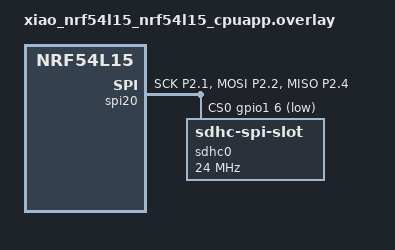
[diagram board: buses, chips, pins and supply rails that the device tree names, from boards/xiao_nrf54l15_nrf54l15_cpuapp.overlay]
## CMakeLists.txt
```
# SPDX-License-Identifier: Apache-2.0
# Copyright (c) 2025 Seeed Technology Co.,Ltd

cmake_minimum_required(VERSION 3.20.0)

# Boot-time reset reason readout, see lib/reset_reason
list(APPEND ZEPHYR_EXTRA_MODULES ${CMAKE_CURRENT_LIST_DIR}/../../lib/reset_reason)
find_package(Zephyr REQUIRED HINTS $ENV{ZEPHYR_BASE})
project(sd_card_hw)

target_sources(app PRIVATE
  src/main.c
)
```

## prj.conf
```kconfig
# SPDX-License-Identifier: Apache-2.0
# SD Card Sample Configuration - Based on working nRF54L15 configuration

# GPIO support
CONFIG_GPIO=y
CONFIG_STDOUT_CONSOLE=y
CONFIG_SPI=y


CONFIG_LOG=y

# SPI interface for SD card - using SPIM00 (SPIM120 high-speed)


# Logging configuration
CONFIG_LOG=y
CONFIG_SHELL_LOG_LEVEL_INF=y

# Debug optimizations
CONFIG_DEBUG_OPTIMIZATIONS=y

# Increased stack and heap sizes for SD card operations
CONFIG_SYSTEM_WORKQUEUE_STACK_SIZE=16384
CONFIG_HEAP_MEM_POOL_SIZE=16384
CONFIG_MAIN_STACK_SIZE=32000
CONFIG_IDLE_STACK_SIZE=8192

# Shell for filesystem operations
CONFIG_SHELL=y
CONFIG_SHELL_STACK_SIZE=16000
CONFIG_FILE_SYSTEM_SHELL=y

# SD Card disk access
CONFIG_DISK_DRIVER_SDMMC=y
CONFIG_DISK_ACCESS=y

# SDHC driver
CONFIG_SDHC=y

# FAT filesystem
CONFIG_FILE_SYSTEM=y
CONFIG_FAT_FILESYSTEM_ELM=y
CONFIG_FS_FATFS_LFN=y

#CONFIG_PM=y
#CONFIG_PM_DEVICE=y 
CONFIG_SOC_NRF_FORCE_CONSTLAT=y
#CONFIG_NRFX_POWER=y

# ZMS (Zephyr Memory Storage) - DISABLED for now, focus on SD card
# CONFIG_FLASH=y
# CONFIG_FLASH_MAP=y
# CONFIG_ZMS=y
# CONFIG_MPU_ALLOW_FLASH_WRITE=y
# CONFIG_SETTINGS=y
# CONFIG_SETTINGS_ZMS=y

# Optional: Shell for filesystem operations
# CONFIG_SHELL=y
# CONFIG_SHELL_LOG_LEVEL_INF=y
# CONFIG_FILE_SYSTEM_SHELL=y
```

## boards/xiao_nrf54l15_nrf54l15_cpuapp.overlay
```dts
/* SD Card configuration for XIAO Expansion Base
 * Using SPI bit-bang instead of hardware SPI
 * Pins: D8=SCK, D9=MISO, D10=MOSI, D2=CS
 */

/ {
	

	aliases {
		sdhc0 = &sdhc0;
		
	};

	chosen {
		zephyr,console = &uart21;
		nordic,rpc-uart = &uart21;
		zephyr,shell-uart = &uart21;
	};

	

};

&pinctrl {
	spi20_default: spi20_default {
		group1 {
			psels = <NRF_PSEL(SPIM_SCK, 2, 1)>,
					<NRF_PSEL(SPIM_MOSI, 2, 2)>,
					<NRF_PSEL(SPIM_MISO, 2, 4)>;
		};
	};

	spi20_sleep: spi20_sleep {
		group1 {
			psels = <NRF_PSEL(SPIM_SCK, 2, 1)>,
					<NRF_PSEL(SPIM_MOSI, 2, 2)>,
					<NRF_PSEL(SPIM_MISO, 2, 4)>;
			low-power-enable;
		};
	};


};

&spi20 {
	compatible = "nordic,nrf-spim";
	pinctrl-names = "default", "sleep";
	pinctrl-0 = <&spi20_default>;
	pinctrl-1 = <&spi20_sleep>;
	status = "okay";

	cs-gpios = <&gpio1 6 (GPIO_ACTIVE_LOW | GPIO_PULL_UP)>;
	sdhc0: sdhc@0 {
		
			compatible = "zephyr,sdhc-spi-slot";
			reg = <0>;
			status = "okay";
			mmc {
				compatible = "zephyr,sdmmc-disk";
				disk-name = "SD";
				status = "okay";
			};
			spi-max-frequency = <24000000>;
		};
};

&uart20 {
	status = "disabled";
};
```

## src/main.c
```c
/*
 * Copyright (c) 2019 Tavish Naruka <tavishnaruka@gmail.com>
 * Copyright (c) 2023 Nordic Semiconductor ASA
 * Copyright (c) 2023 Antmicro <www.antmicro.com>
 * Copyright (c) 2025 Seeed Technology Co.,Ltd
 *
 * SPDX-License-Identifier: Apache-2.0
 */

/** @file
 * @brief SD Card and ZMS Storage Sample for XIAO nRF54L15
 * 
 * This sample demonstrates:
 * - Using the filesystem API with SDHC driver for SD card access
 * - Using ZMS (Zephyr Memory Storage) for persistent settings on nRF54L15
 * - Reading/writing files on SD card
 * - Storing configuration data in ZMS
 */

#include <zephyr/kernel.h>
#include <zephyr/device.h>
#include <zephyr/storage/disk_access.h>
#include <zephyr/logging/log.h>
#include <zephyr/fs/fs.h>
#include <zephyr/fs/zms.h>
#include <zephyr/settings/settings.h>
#include <zephyr/drivers/flash.h>
#include <zephyr/storage/flash_map.h>

#if defined(CONFIG_FAT_FILESYSTEM_ELM)

#include <ff.h>

/*
 *  Note the fatfs library is able to mount only strings inside _VOLUME_STRS
 *  in ffconf.h
 */
#if defined(CONFIG_DISK_DRIVER_MMC)
#define DISK_DRIVE_NAME "SD2"
#else
#define DISK_DRIVE_NAME "SD"
#endif

#define DISK_MOUNT_PT "/"DISK_DRIVE_NAME":"

static FATFS fat_fs;
/* mounting info */
static struct fs_mount_t mp = {
	.type = FS_FATFS,
	.fs_data = &fat_fs,
};

#elif defined(CONFIG_FILE_SYSTEM_EXT2)

#include <zephyr/fs/ext2.h>

#define DISK_DRIVE_NAME "SD"
#define DISK_MOUNT_PT "/ext"

static struct fs_mount_t mp = {
	.type = FS_EXT2,
	.flags = FS_MOUNT_FLAG_NO_FORMAT,
	.storage_dev = (void *)DISK_DRIVE_NAME,
	.mnt_point = "/ext",
};

#endif

#if defined(CONFIG_FAT_FILESYSTEM_ELM)
#define FS_RET_OK FR_OK
#else
#define FS_RET_OK 0
#endif

LOG_MODULE_REGISTER(main, LOG_LEVEL_INF);

#define MAX_PATH 128
#define SOME_FILE_NAME "some.dat"
#define SOME_DIR_NAME "some"
#define SOME_REQUIRED_LEN MAX(sizeof(SOME_FILE_NAME), sizeof(SOME_DIR_NAME))

/* ZMS Configuration */
#ifdef CONFIG_ZMS
#define ZMS_PARTITION_ID FIXED_PARTITION_ID(storage_partition)
/* Storage partition is 8KB (0x2000 bytes) at 0x15c000 */
/* Use 2 sectors of 4KB = 8KB */
#define ZMS_SECTOR_SIZE 4096
#define ZMS_SECTOR_COUNT 2

static struct zms_fs zms = {
	.sector_size = ZMS_SECTOR_SIZE,
	.sector_count = ZMS_SECTOR_COUNT,
};

/* ZMS Data IDs */
#define ZMS_ID_BOOT_COUNT 1
#define ZMS_ID_SD_ACCESS_COUNT 2
#define ZMS_ID_CONFIG_VERSION 3

static int zms_init(void)
{
	int rc;
	struct flash_pages_info info;
	
	zms.flash_device = DEVICE_DT_GET(DT_CHOSEN(zephyr_flash_controller));
	if (!device_is_ready(zms.flash_device)) {
		LOG_ERR("Flash device not ready");
		return -ENODEV;
	}

	zms.offset = FIXED_PARTITION_OFFSET(storage_partition);
	rc = flash_get_page_info_by_offs(zms.flash_device, zms.offset, &info);
	if (rc) {
		LOG_ERR("Unable to get page info (err %d)", rc);
		return rc;
	}

	/* Verify our configured sector size fits in the partition */
	uint32_t partition_size = FIXED_PARTITION_SIZE(storage_partition);
	uint32_t required_size = zms.sector_size * zms.sector_count;
	
	if (required_size > partition_size) {
		LOG_ERR("ZMS config too large: %u bytes required, %u available", 
			required_size, partition_size);
		return -EINVAL;
	}
	
	LOG_INF("ZMS using %u sectors of %u bytes = %u bytes total (partition: %u bytes)",
		zms.sector_count, zms.sector_size, required_size, partition_size);

	rc = zms_mount(&zms);
	if (rc) {
		LOG_ERR("ZMS mount failed (err %d)", rc);
		return rc;
	}

	LOG_INF("ZMS mounted successfully at offset 0x%lx", (unsigned long)zms.offset);
	return 0;
}

static void zms_demo(void)
{
	int rc;
	uint32_t boot_count = 0;
	uint32_t sd_access_count = 0;
	uint16_t config_version = 100;

	/* Read boot count */
	rc = zms_read(&zms, ZMS_ID_BOOT_COUNT, &boot_count, sizeof(boot_count));
	if (rc > 0) {
		LOG_INF("Boot count: %u", boot_count);
		boot_count++;
	} else {
		LOG_INF("Boot count not found, initializing to 1");
		boot_count = 1;
	}

	/* Write updated boot count */
	rc = zms_write(&zms, ZMS_ID_BOOT_COUNT, &boot_count, sizeof(boot_count));
	if (rc < 0) {
		LOG_ERR("Failed to write boot count (err %d)", rc);
	} else {
		LOG_INF("Updated boot count to: %u", boot_count);
	}

	/* Read SD access count */
	rc = zms_read(&zms, ZMS_ID_SD_ACCESS_COUNT, &sd_access_count, sizeof(sd_access_count));
	if (rc > 0) {
		LOG_INF("SD access count: %u", sd_access_count);
	}

	/* Write config version */
	rc = zms_write(&zms, ZMS_ID_CONFIG_VERSION, &config_version, sizeof(config_version));
	if (rc < 0) {
		LOG_ERR("Failed to write config version (err %d)", rc);
	} else {
		LOG_INF("Stored config version: %u", config_version);
	}
}

static void zms_update_sd_count(void)
{
	int rc;
	uint32_t sd_access_count = 0;

	rc = zms_read(&zms, ZMS_ID_SD_ACCESS_COUNT, &sd_access_count, sizeof(sd_access_count));
	if (rc > 0) {
		sd_access_count++;
	} else {
		sd_access_count = 1;
	}

	rc = zms_write(&zms, ZMS_ID_SD_ACCESS_COUNT, &sd_access_count, sizeof(sd_access_count));
	if (rc >= 0) {
		LOG_INF("SD card accessed %u times", sd_access_count);
	}
}
#endif /* CONFIG_ZMS */

static int lsdir(const char *path);

static bool create_some_entries(const char *base_path)
{
	char path[MAX_PATH];
	struct fs_file_t file;
	int base = strlen(base_path);

	fs_file_t_init(&file);

	if (base >= (sizeof(path) - SOME_REQUIRED_LEN)) {
		LOG_ERR("Not enough concatenation buffer to create file paths");
		return false;
	}

	LOG_INF("Creating some dir entries in %s", base_path);
	strncpy(path, base_path, sizeof(path));

	path[base++] = '/';
	path[base] = 0;
	strcat(&path[base], SOME_FILE_NAME);

	if (fs_open(&file, path, FS_O_CREATE) != 0) {
		LOG_ERR("Failed to create file %s", path);
		return false;
	}
	fs_close(&file);

	path[base] = 0;
	strcat(&path[base], SOME_DIR_NAME);

	if (fs_mkdir(path) != 0) {
		LOG_ERR("Failed to create dir %s", path);
		/* If code gets here, it has at least successes to create the
		 * file so allow function to return true.
		 */
	}
	return true;
}

static const char *disk_mount_pt = DISK_MOUNT_PT;

int main(void)
{
	LOG_INF("========================================");
	LOG_INF("XIAO nRF54L15 SD Card + ZMS Sample");
	LOG_INF("========================================");
	//nrfx_power_constlat_mode_request(); //causes a warning, but doesn't work without this line on platform.io
#ifdef CONFIG_ZMS
	/* Initialize ZMS for persistent storage */
	LOG_INF("Initializing ZMS...");
	int zms_rc = zms_init();
	if (zms_rc == 0) {
		zms_demo();
	} else {
		LOG_ERR("ZMS initialization failed, continuing without persistent storage");
	}
#endif

	/* raw disk i/o */
	LOG_INF("Initializing SD card...");
	do {
		static const char *disk_pdrv = DISK_DRIVE_NAME;
		uint64_t memory_size_mb;
		uint32_t block_count;
		uint32_t block_size;

		if (disk_access_ioctl(disk_pdrv,
				DISK_IOCTL_CTRL_INIT, NULL) != 0) {
			LOG_ERR("SD card init ERROR! Please check:");
			LOG_ERR("  - SD card is inserted");
			LOG_ERR("  - SD card is formatted (FAT32/exFAT)");
			LOG_ERR("  - Connections are correct");
			break;
		}

		if (disk_access_ioctl(disk_pdrv,
				DISK_IOCTL_GET_SECTOR_COUNT, &block_count)) {
			LOG_ERR("Unable to get sector count");
			break;
		}
		LOG_INF("SD Card - Block count: %u", block_count);

		if (disk_access_ioctl(disk_pdrv,
				DISK_IOCTL_GET_SECTOR_SIZE, &block_size)) {
			LOG_ERR("Unable to get sector size");
			break;
		}
		LOG_INF("SD Card - Sector size: %u bytes", block_size);

		memory_size_mb = (uint64_t)block_count * block_size;
		LOG_INF("SD Card - Total size: %u MB", (uint32_t)(memory_size_mb >> 20));

#ifdef CONFIG_ZMS
		/* Update SD card access counter in ZMS */
		zms_update_sd_count();
#endif

		if (disk_access_ioctl(disk_pdrv,
				DISK_IOCTL_CTRL_DEINIT, NULL) != 0) {
			LOG_ERR("Storage deinit ERROR!");
			break;
		}
	} while (0);

	mp.mnt_point = disk_mount_pt;

	LOG_INF("Mounting SD card filesystem...");
	int res = fs_mount(&mp);

	if (res == FS_RET_OK) {
		LOG_INF("SD card mounted at %s", disk_mount_pt);
		
		/* Test unmount and remount */
		LOG_INF("Testing unmount/remount...");
		res = fs_unmount(&mp);
		if (res != FS_RET_OK) {
			LOG_ERR("Error unmounting disk");
			return res;
		}
		
		res = fs_mount(&mp);
		if (res != FS_RET_OK) {
			LOG_ERR("Error remounting disk");
			return res;
		}
		LOG_INF("Unmount/remount test successful");

		/* List directory contents */
		if (lsdir(disk_mount_pt) >= 0) {
			LOG_INF("Creating sample files and directories...");
			if (create_some_entries(disk_mount_pt)) {
				LOG_INF("Sample entries created, listing again:");
				lsdir(disk_mount_pt);
			}
		}
		
		/* Write a test file with timestamp */
		char test_file_path[64];
		snprintf(test_file_path, sizeof(test_file_path), "%s/test.txt", disk_mount_pt);
		struct fs_file_t test_file;
		fs_file_t_init(&test_file);
		
		res = fs_open(&test_file, test_file_path, FS_O_CREATE | FS_O_WRITE);
		if (res == 0) {
			const char *test_data = "XIAO nRF54L15 SD Card Test\n";
			fs_write(&test_file, test_data, strlen(test_data));
			fs_close(&test_file);
			LOG_INF("Created test file: %s", test_file_path);
		} else {
			LOG_WRN("Could not create test file (err %d)", res);
		}
		
		/* Unmount before exiting */
		fs_unmount(&mp);
		LOG_INF("SD card unmounted");
	} else {
		LOG_ERR("Failed to mount SD card (err %d)", res);
		LOG_ERR("Common issues:");
		LOG_ERR("  - SD card not formatted (use FAT32)");
		LOG_ERR("  - SD card not inserted properly");
		LOG_ERR("  - Incompatible SD card");
	}

	LOG_INF("========================================");
	LOG_INF("Sample completed. System will idle.");
	LOG_INF("========================================");

	while (1) {
		k_sleep(K_SECONDS(1));
	}
	return 0;
}

/* List dir entry by path
 *
 * @param path Absolute path to list
 *
 * @return Negative errno code on error, number of listed entries on
 *         success.
 */
static int lsdir(const char *path)
{
	int res;
	struct fs_dir_t dirp;
	static struct fs_dirent entry;
	int count = 0;

	fs_dir_t_init(&dirp);

	/* Verify fs_opendir() */
	res = fs_opendir(&dirp, path);
	if (res) {
		printk("Error opening dir %s [%d]\n", path, res);
		return res;
	}

	printk("\nListing dir %s ...\n", path);
	for (;;) {
		/* Verify fs_readdir() */
		res = fs_readdir(&dirp, &entry);

		/* entry.name[0] == 0 means end-of-dir */
		if (res || entry.name[0] == 0) {
			break;
		}

		if (entry.type == FS_DIR_ENTRY_DIR) {
			printk("[DIR ] %s\n", entry.name);
		} else {
			printk("[FILE] %s (size = %zu)\n",
				entry.name, entry.size);
		}
		count++;
	}

	/* Verify fs_closedir() */
	fs_closedir(&dirp);
	if (res == 0) {
		res = count;
	}

	return res;
}
```
